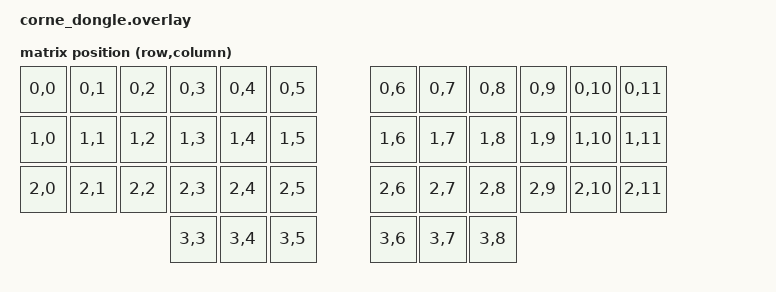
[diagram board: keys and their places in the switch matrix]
/*
 * Corne dongle — BLE central, connects to the host over USB.
 *
 * The dongle has no keys of its own: it uses a mock kscan and simply runs the
 * keymap on the key positions reported by the two halves (peripherals). The
 * matrix transform below is an exact copy of the stock Corne 6-column transform
 * so positions map 1:1 with the keymap. Each half already sends GLOBAL
 * positions (left = columns 0-5, right = columns 6-11 via its col-offset), so
 * nothing in the keymap needs to change.
 *
 * SPDX-License-Identifier: MIT
 */

#include <dt-bindings/zmk/matrix_transform.h>

/ {
    chosen {
        zmk,kscan = &mock_kscan;
        zmk,physical-layout = &dongle_physical_layout;
    };

    mock_kscan: mock_kscan_0 {
        compatible = "zmk,kscan-mock";
        columns = <0>;
        rows = <0>;
        events = <0>;
    };

    default_transform: keymap_transform_0 {
        compatible = "zmk,matrix-transform";
        columns = <12>;
        rows = <4>;
        map = <
RC(0,0) RC(0,1) RC(0,2) RC(0,3) RC(0,4) RC(0,5)   RC(0,6) RC(0,7) RC(0,8) RC(0,9) RC(0,10) RC(0,11)
RC(1,0) RC(1,1) RC(1,2) RC(1,3) RC(1,4) RC(1,5)   RC(1,6) RC(1,7) RC(1,8) RC(1,9) RC(1,10) RC(1,11)
RC(2,0) RC(2,1) RC(2,2) RC(2,3) RC(2,4) RC(2,5)   RC(2,6) RC(2,7) RC(2,8) RC(2,9) RC(2,10) RC(2,11)
                        RC(3,3) RC(3,4) RC(3,5)   RC(3,6) RC(3,7) RC(3,8)
        >;
    };

    dongle_physical_layout: dongle_physical_layout {
        compatible = "zmk,physical-layout";
        display-name = "Dongle";
        transform = <&default_transform>;
    };
};
